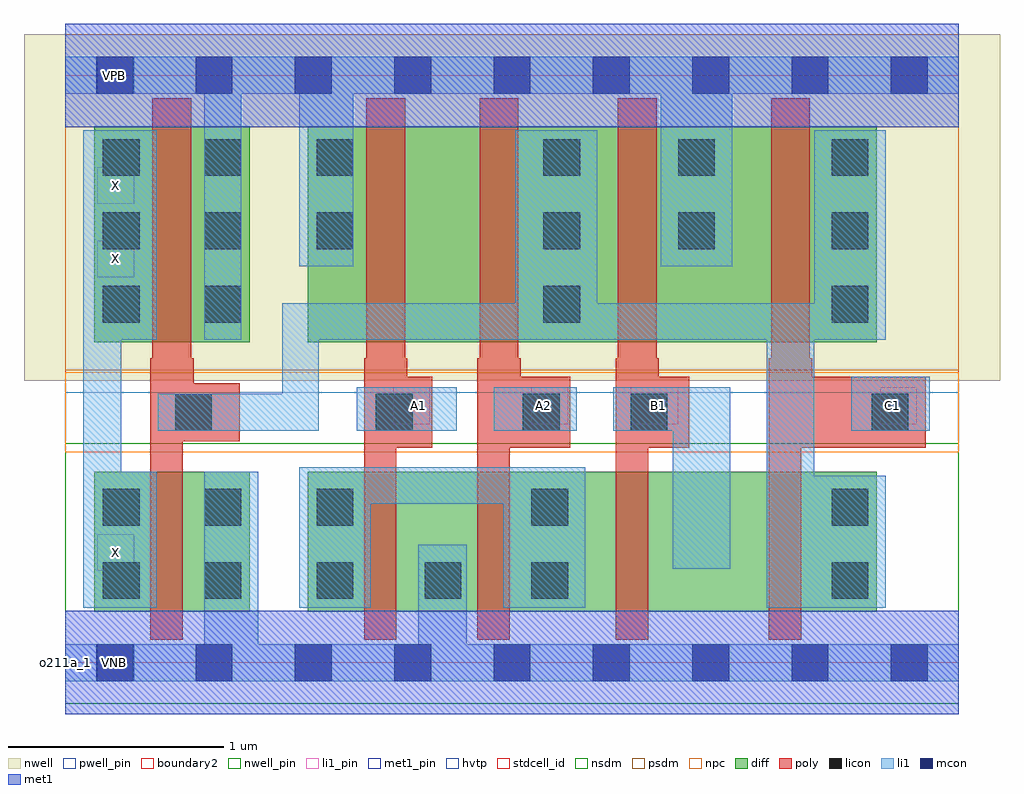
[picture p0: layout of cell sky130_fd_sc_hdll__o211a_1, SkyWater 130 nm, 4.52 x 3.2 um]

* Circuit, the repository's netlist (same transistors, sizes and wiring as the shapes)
* Copyright 2020 The SkyWater PDK Authors
*
* Licensed under the Apache License, Version 2.0 (the "License");
* you may not use this file except in compliance with the License.
* You may obtain a copy of the License at
*
*     https://www.apache.org/licenses/LICENSE-2.0
*
* Unless required by applicable law or agreed to in writing, software
* distributed under the License is distributed on an "AS IS" BASIS,
* WITHOUT WARRANTIES OR CONDITIONS OF ANY KIND, either express or implied.
* See the License for the specific language governing permissions and
* limitations under the License.
*
* SPDX-License-Identifier: Apache-2.0

.SUBCKT sky130_fd_sc_hdll__o211a_1 A1 A2 B1 C1 VGND VNB VPB VPWR X
*.PININFO A1:I A2:I B1:I C1:I VGND:I VNB:I VPB:I VPWR:I X:O
MMPA0 VPWR A1 sndA1 VPB sky130_fd_pr__pfet_01v8_hvt m=1 w=1.0U l=0.18U mult=1 sa=0.265
+ sb=0.265 sd=0.28 area=0.063 perim=1.14
MMPA1 sndA1 A2 y VPB sky130_fd_pr__pfet_01v8_hvt m=1 w=1.0U l=0.18U mult=1 sa=0.265
+ sb=0.265 sd=0.28 area=0.063 perim=1.14
MMPB0 VPWR B1 y VPB sky130_fd_pr__pfet_01v8_hvt m=1 w=1.0U l=0.18U mult=1 sa=0.265
+ sb=0.265 sd=0.28 area=0.063 perim=1.14
MMPC0 VPWR C1 y VPB sky130_fd_pr__pfet_01v8_hvt m=1 w=1.0U l=0.18U mult=1 sa=0.265
+ sb=0.265 sd=0.28 area=0.063 perim=1.14
MMIPX X y VPWR VPB sky130_fd_pr__pfet_01v8_hvt m=1 w=1.0U l=0.18U mult=1 sa=0.265
+ sb=0.265 sd=0.28 area=0.063 perim=1.14
MMNA0 pndA A1 VGND VNB sky130_fd_pr__nfet_01v8 m=1 w=0.65U l=0.15U mult=1 sa=0.265
+ sb=0.265 sd=0.28 area=0.063 perim=1.14
MMNA1 pndA A2 VGND VNB sky130_fd_pr__nfet_01v8 m=1 w=0.65U l=0.15U mult=1 sa=0.265
+ sb=0.265 sd=0.28 area=0.063 perim=1.14
MMNB0 pndB B1 pndA VNB sky130_fd_pr__nfet_01v8 m=1 w=0.65U l=0.15U mult=1 sa=0.265
+ sb=0.265 sd=0.28 area=0.063 perim=1.14
MMNC0 y C1 pndB VNB sky130_fd_pr__nfet_01v8 m=1 w=0.65U l=0.15U mult=1 sa=0.265
+ sb=0.265 sd=0.28 area=0.063 perim=1.14
MMINX X y VGND VNB sky130_fd_pr__nfet_01v8 m=1 w=0.65U l=0.15U mult=1 sa=0.265
+ sb=0.265 sd=0.28 area=0.063 perim=1.14
.ENDS sky130_fd_sc_hdll__o211a_1

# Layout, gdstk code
import gdstk
lib = gdstk.Library(unit=1e-6, precision=1e-09)
def R(c, l, rs):  # rectangles x0, y0, x1, y1
    for r in rs: c.add(gdstk.rectangle(r[:2], r[2:], *l))
def A(c, l, x, y, w, h, nx, ny, dx, dy):  # array of equal rectangles
    R(c, l, [(x+i*dx, y+j*dy, x+i*dx+w, y+j*dy+h) for i in range(nx) for j in range(ny)])
def P(c, l, *ps):  # polygons
    for p in ps: c.add(gdstk.Polygon(p, *l))
nwell_pin = (64, 16)
nwell = (64, 20)
diff = (65, 20)
poly = (66, 20)
licon = (66, 44)
li1_pin = (67, 16)
li1 = (67, 20)
mcon = (67, 44)
met1_pin = (68, 16)
met1 = (68, 20)
hvtp = (78, 44)
stdcell_id = (81, 4)
nsdm = (93, 44)
psdm = (94, 20)
npc = (95, 20)
pwell_pin = (122, 16)
boundary2 = (236, 0)

sky130_fd_sc_hdll__o211a = lib.new_cell('sky130_fd_sc_hdll__o211a_1')
R(sky130_fd_sc_hdll__o211a, nwell_pin, [(0.15,2.635,0.32,2.805)])
R(sky130_fd_sc_hdll__o211a, nwell, [(-0.19,1.305,4.33,2.91)])
R(sky130_fd_sc_hdll__o211a, diff, [(0.135,0.235,0.855,0.885), (1.125,0.235,3.76,0.885), (0.135,1.485,0.855,2.485), (1.125,1.485,3.76,2.485)])
P(sky130_fd_sc_hdll__o211a, poly, [(0.81,1.295),(0.595,1.295),(0.595,1.41),(0.585,1.41),(0.585,2.615),(0.405,2.615),(0.405,1.41),(0.395,1.41),(0.395,0.105),(0.545,0.105),(0.545,1.025),(0.81,1.025)],
  [(1.7,1.325),(1.585,1.325),(1.585,1.41),(1.575,1.41),(1.575,2.615),(1.395,2.615),(1.395,1.41),(1.385,1.41),(1.385,0.105),(1.535,0.105),(1.535,0.995),(1.7,0.995)],
  [(2.34,1.325),(2.11,1.325),(2.11,1.41),(2.1,1.41),(2.1,2.615),(1.92,2.615),(1.92,1.41),(1.91,1.41),(1.91,0.105),(2.06,0.105),(2.06,0.995),(2.34,0.995)],
  [(2.89,1.325),(2.75,1.325),(2.75,1.41),(2.74,1.41),(2.74,2.615),(2.56,2.615),(2.56,1.41),(2.55,1.41),(2.55,0.105),(2.7,0.105),(2.7,0.995),(2.89,0.995)],
  [(3.985,1.325),(3.46,1.325),(3.46,1.41),(3.45,1.41),(3.45,2.615),(3.27,2.615),(3.27,1.41),(3.26,1.41),(3.26,0.105),(3.41,0.105),(3.41,0.995),(3.985,0.995)])
A(sky130_fd_sc_hdll__o211a, licon, 0.175, 1.575, 0.17, 0.17, 1, 3, 0, 0.34)
A(sky130_fd_sc_hdll__o211a, licon, 0.645, 1.575, 0.17, 0.17, 1, 3, 0, 0.34)
A(sky130_fd_sc_hdll__o211a, licon, 2.215, 1.575, 0.17, 0.17, 1, 3, 0, 0.34)
A(sky130_fd_sc_hdll__o211a, licon, 3.55, 1.575, 0.17, 0.17, 1, 3, 0, 0.34)
R(sky130_fd_sc_hdll__o211a, licon, [(0.175,0.295,0.345,0.465), (0.645,0.295,0.815,0.465), (1.165,0.295,1.335,0.465), (1.665,0.295,1.835,0.465), (2.16,0.295,2.33,0.465), (3.55,0.295,3.72,0.465), (0.175,0.635,0.345,0.805), (0.645,0.635,0.815,0.805), (1.165,0.635,1.335,0.805), (2.16,0.635,2.33,0.805), (3.55,0.635,3.72,0.805), (0.51,1.075,0.68,1.245), (1.44,1.075,1.61,1.245), (2.12,1.075,2.29,1.245), (2.62,1.075,2.79,1.245), (3.735,1.075,3.905,1.245), (1.165,1.915,1.335,2.085), (2.84,1.915,3.01,2.085), (1.165,2.255,1.335,2.425), (2.84,2.255,3.01,2.425)])
R(sky130_fd_sc_hdll__o211a, li1_pin, [(0.15,0.425,0.32,0.595), (1.52,1.105,1.69,1.275), (2.16,1.105,2.33,1.275), (2.62,1.105,2.84,1.275), (3.775,1.105,3.945,1.275), (0.15,1.785,0.32,1.955), (0.15,2.125,0.32,2.295)])
R(sky130_fd_sc_hdll__o211a, li1, [(1.35,1.075,1.815,1.275), (1.985,1.075,2.37,1.275), (3.64,1.075,4.005,1.325)])
P(sky130_fd_sc_hdll__o211a, li1, [(3.8,0.865),(3.47,0.865),(3.47,1.495),(3.8,1.495),(3.8,2.465),(3.47,2.465),(3.47,1.665),(2.465,1.665),(2.465,2.465),(2.085,2.465),(2.085,1.665),(1.005,1.665),(1.005,1.245),(0.43,1.245),(0.43,1.075),(1.175,1.075),(1.175,1.495),(3.25,1.495),(3.25,0.255),(3.8,0.255)],
  [(4.14,0.085),(1.86,0.085),(1.86,0.545),(1.635,0.545),(1.635,0.085),(0.895,0.085),(0.895,0.885),(0.645,0.885),(0.645,0.085),(0,0.085),(0,-0.085),(4.14,-0.085)],
  [(4.14,2.805),(0,2.805),(0,2.635),(0.645,2.635),(0.645,1.495),(0.815,1.495),(0.815,2.635),(1.085,2.635),(1.085,1.835),(1.335,1.835),(1.335,2.635),(2.76,2.635),(2.76,1.835),(3.09,1.835),(3.09,2.635),(4.14,2.635)],
  [(0.425,0.885),(0.26,0.885),(0.26,1.495),(0.425,1.495),(0.425,2.465),(0.085,2.465),(0.085,0.255),(0.425,0.255)],
  [(2.41,0.905),(1.085,0.905),(1.085,0.255),(1.415,0.255),(1.415,0.735),(2.03,0.735),(2.03,0.255),(2.41,0.255)],
  [(3.08,1.275),(2.54,1.275),(2.54,1.075),(2.815,1.075),(2.815,0.435),(3.08,0.435)])
A(sky130_fd_sc_hdll__o211a, mcon, 0.145, -0.085, 0.17, 0.17, 9, 2, 0.46, 2.72)
R(sky130_fd_sc_hdll__o211a, met1_pin, [(0.15,-0.085,0.32,0.085), (0.15,2.635,0.32,2.805)])
R(sky130_fd_sc_hdll__o211a, met1, [(0,-0.24,4.14,0.24), (0,2.48,4.14,2.96)])
R(sky130_fd_sc_hdll__o211a, hvtp, [(0,1.25,4.14,2.72)])
R(sky130_fd_sc_hdll__o211a, stdcell_id, [(0,0,4.14,2.72)])
R(sky130_fd_sc_hdll__o211a, nsdm, [(0,-0.19,4.14,1.015)])
R(sky130_fd_sc_hdll__o211a, psdm, [(0,1.355,4.14,2.91)])
R(sky130_fd_sc_hdll__o211a, npc, [(0,0.975,4.14,1.345)])
R(sky130_fd_sc_hdll__o211a, pwell_pin, [(0.15,-0.085,0.32,0.085)])
R(sky130_fd_sc_hdll__o211a, boundary2, [(0,0,4.14,2.72)])
sky130_fd_sc_hdll__o211a.add(gdstk.Label('C1', (3.83,1.19), layer=67, texttype=5))
sky130_fd_sc_hdll__o211a.add(gdstk.Label('B1', (2.75,1.19), layer=67, texttype=5))
sky130_fd_sc_hdll__o211a.add(gdstk.Label('A2', (2.215,1.19), layer=67, texttype=5))
sky130_fd_sc_hdll__o211a.add(gdstk.Label('A1', (1.635,1.19), layer=67, texttype=5))
sky130_fd_sc_hdll__o211a.add(gdstk.Label('X', (0.235,0.51), layer=67, texttype=5))
sky130_fd_sc_hdll__o211a.add(gdstk.Label('X', (0.235,2.21), layer=67, texttype=5))
sky130_fd_sc_hdll__o211a.add(gdstk.Label('X', (0.235,1.87), layer=67, texttype=5))
sky130_fd_sc_hdll__o211a.add(gdstk.Label('VNB', (0.23,0), layer=64, texttype=59))
sky130_fd_sc_hdll__o211a.add(gdstk.Label('VPB', (0.23,2.72), layer=64, texttype=5))
sky130_fd_sc_hdll__o211a.add(gdstk.Label('VGND', (0.23,0), layer=68, texttype=5))
sky130_fd_sc_hdll__o211a.add(gdstk.Label('VPWR', (0.23,2.72), layer=68, texttype=5))
sky130_fd_sc_hdll__o211a.add(gdstk.Label('o211a_1', (0,0), layer=83, texttype=44))

lib.write_gds('sky130_fd_sc_hdll__o211a_1.gds')
